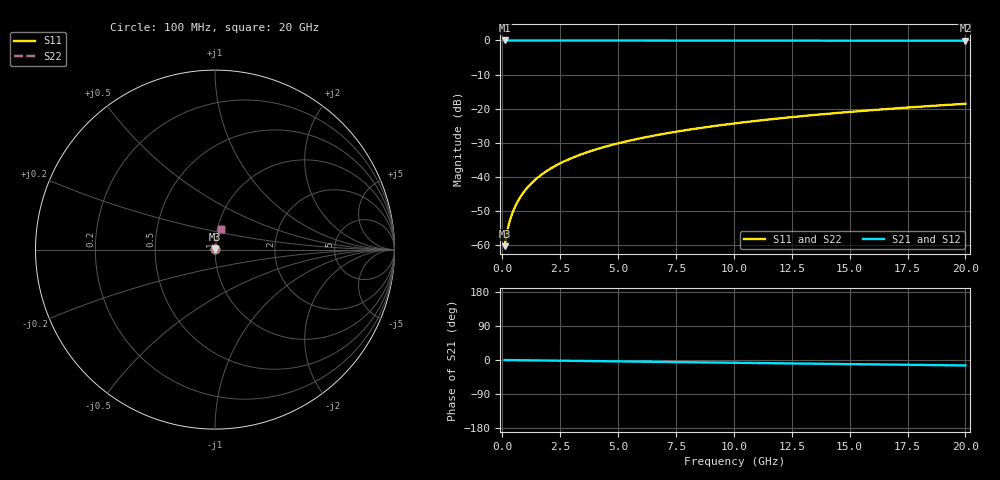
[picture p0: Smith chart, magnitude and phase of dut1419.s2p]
! Touchstone file exported from HFSS 2026.1.0
!  File:  C:/ffzhzh/LocalFiles/Ansys_Project_Files/temp_train_TMRDL_1419_1783166684_18472.aedt
!  Generated:  08:05:57 PM Jul  4, 2026
!  Design:  TMRDL
!  Project:  temp_train_TMRDL_1419_1783166684_18472
! Variables:
!  h_bsmrdl = 2um
!  h_ox = 20um
!  h_rdl = 5um
!  h_sub = 80um
!  h_tmrdl = 4.93um
!  h_tsv = 80um
!  h_via = 3um
!  l_bsmrdl = 300um
!  l_sub = 590.48um
!  l_tmrdl = 190.48um
!  m_sub = 200um
!  pitch = 50.71um
!  r_tsv = 6um
!  s_tmrdl = 10um
!  w_bsmrdl = 18um
!  w_sub = 500um
!  w_tmrdl = 29.01um
!  x_tsv_center1 = 204.985um
!  x_tsv_center2 = 522.985um
!  x_tsv_center3 = 742.475um
!  x_tsv_center4 = 1060.475um
!  x_tsv_center5 = 1279.965um
!  x_tsv_center6 = 1597.965um
# GHz S MA R 50.000000
! Terminal data exported
! Port[1] = TM_RDL1_1_T1
! Port[2] = TM_RDL1_1_T2
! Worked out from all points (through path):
!   200 points, 100 MHz to 20 GHz, reference 50 ohm
!   highest |S21| = -0.01 dB at 100 MHz (marker M1); lowest = -0.1 dB at 20 GHz (marker M2)
!   group delay of S21, straight-line fit = 1.99 ps
!   lowest |S11| = -60.2 dB at 100 MHz (marker M3), VSWR 1.00, Z = 50.1 + j0.0718 ohm
!   |S11| at or under -10 dB: start of sweep to end of sweep
!   |S22| runs from -60.2 to -18.5 dB; largest |S21 - S12| = 5.1e-15
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0.1  0.000976 47.3  0.9993 -0.1  0.9993 -0.1  0.000976 47.3
! Gamma 0 0 0 0
! Port Impedance 50 0 50 0
0.2  0.001555 62.2  0.9993 -0.2  0.9993 -0.2  0.001555 62.2
0.3  0.00215 69.1  0.9992 -0.2  0.9992 -0.2  0.00215 69.1
0.4  0.002755 73.1  0.9992 -0.3  0.9992 -0.3  0.002755 73.1
0.5  0.003368 75.8  0.9992 -0.4  0.9992 -0.4  0.003368 75.8
0.6  0.003988 77.7  0.9992 -0.5  0.9992 -0.5  0.003988 77.7
0.8  0.005239 80.1  0.9991 -0.6  0.9991 -0.6  0.005239 80.1
1.1  0.007129 82.0  0.9991 -0.8  0.9991 -0.8  0.007129 82.0
1.3  0.008392 82.7  0.999 -1.0  0.999 -1.0  0.008392 82.7
1.5  0.009653 83.2  0.999 -1.1  0.999 -1.1  0.009653 83.2
1.8  0.01154 83.6  0.9989 -1.3  0.9989 -1.3  0.01154 83.6
2.1  0.01342 83.8  0.9988 -1.6  0.9988 -1.6  0.01342 83.8
2.7  0.01716 83.9  0.9986 -2.0  0.9986 -2.0  0.01716 83.9
3.5  0.0221 83.7  0.9983 -2.6  0.9983 -2.6  0.0221 83.7
4.2  0.02637 83.4  0.998 -3.1  0.998 -3.1  0.02637 83.4
5  0.03121 83.0  0.9977 -3.7  0.9977 -3.7  0.03121 83.0
6.8  0.04198 82.0  0.9969 -5.0  0.9969 -5.0  0.04198 82.0
8.3  0.05088 81.2  0.9962 -6.1  0.9962 -6.1  0.05088 81.2
10.1  0.06148 80.1  0.9954 -7.3  0.9954 -7.3  0.06148 80.1
13.4  0.08073 78.0  0.9935 -9.7  0.9935 -9.7  0.08073 78.0
16.7  0.0997 75.9  0.9914 -12.0  0.9914 -12.0  0.0997 75.9
20  0.1184 73.7  0.9891 -14.4  0.9891 -14.4  0.1184 73.7
